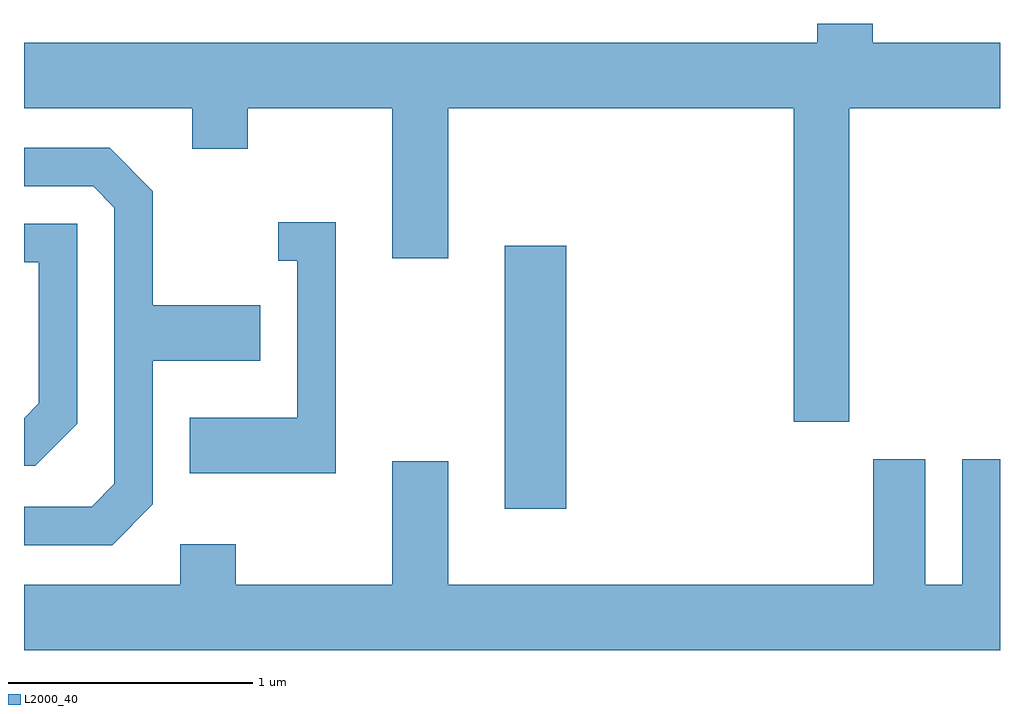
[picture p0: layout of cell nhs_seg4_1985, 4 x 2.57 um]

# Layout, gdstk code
import gdstk
lib = gdstk.Library(unit=1e-6, precision=1e-09)
def R(c, l, rs):  # rectangles x0, y0, x1, y1
    for r in rs: c.add(gdstk.rectangle(r[:2], r[2:], *l))
def P(c, l, *ps):  # polygons
    for p in ps: c.add(gdstk.Polygon(p, *l))
L2000_40 = (2000, 40)

nhs_seg4_1985 = lib.new_cell('nhs_seg4_1985')
R(nhs_seg4_1985, L2000_40, [(245.581,1281.996,245.834,1283.074)])
P(nhs_seg4_1985, L2000_40, [(246.994,1283.636),(247.611,1283.636),(247.611,1283.904),(247.089,1283.904),(247.089,1283.982),(246.861,1283.982),(246.861,1283.904),(243.611,1283.904),(243.611,1283.636),(244.301,1283.636),(244.301,1283.471),(244.529,1283.471),(244.529,1283.636),(245.121,1283.636),(245.121,1283.021),(245.349,1283.021),(245.349,1283.636),(246.766,1283.636),(246.766,1282.351),(246.994,1282.351)],
  [(244.139,1282.014),(244.139,1282.601),(244.579,1282.601),(244.579,1282.829),(244.139,1282.829),(244.139,1283.297),(243.962,1283.474),(243.611,1283.474),(243.611,1283.316),(243.894,1283.316),(243.981,1283.229),(243.981,1282.097),(243.889,1282.004),(243.611,1282.004),(243.611,1281.846),(243.972,1281.846)],
  [(244.889,1283.169),(244.653,1283.169),(244.653,1283.011),(244.731,1283.011),(244.731,1282.369),(244.291,1282.369),(244.291,1282.141),(244.889,1282.141)],
  [(243.829,1282.344),(243.829,1283.164),(243.611,1283.164),(243.611,1283.006),(243.671,1283.006),(243.671,1282.427),(243.611,1282.366),(243.611,1282.171),(243.657,1282.171)],
  [(247.611,1282.199),(247.456,1282.199),(247.456,1281.684),(247.304,1281.684),(247.304,1282.199),(247.091,1282.199),(247.091,1281.684),(245.349,1281.684),(245.349,1282.189),(245.121,1282.189),(245.121,1281.684),(244.479,1281.684),(244.479,1281.849),(244.251,1281.849),(244.251,1281.684),(243.611,1281.684),(243.611,1281.416),(247.611,1281.416)])

lib.write_gds('nhs_seg4_1985.gds')
